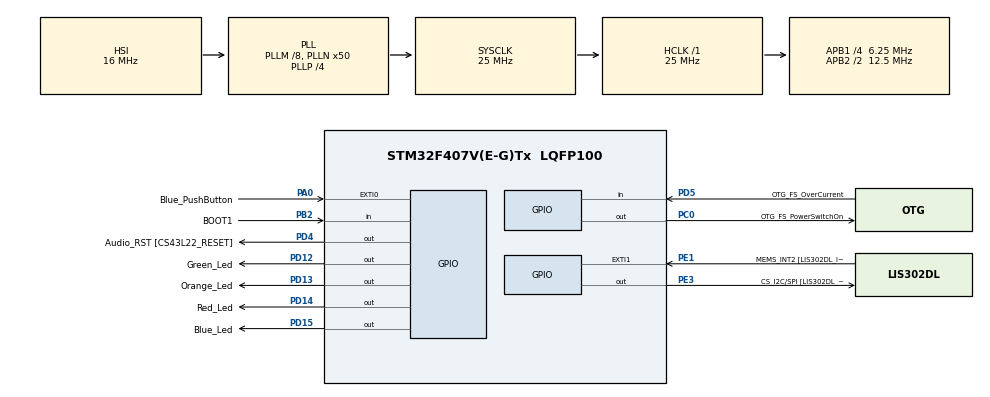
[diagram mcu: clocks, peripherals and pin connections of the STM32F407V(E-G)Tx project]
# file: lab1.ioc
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Mcu.Family=STM32F4
Mcu.Name=STM32F407V(E-G)Tx
Mcu.Package=LQFP100
NVIC.PriorityGroup=NVIC_PRIORITYGROUP_4
NVIC.TIM7_IRQn=true\:0\:0\:false\:false\:true\:false\:true\:true
NVIC.TimeBase=TIM7_IRQn
NVIC.TimeBaseIP=TIM7
PA0-WKUP.GPIO_Label=Blue_PushButton
PA0-WKUP.Signal=GPXTI0
PA10.GPIO_Label=OTG_FS_ID
PA10.GPIO_Mode=GPIO_MODE_AF_PP
PA10.GPIO_PuPd=GPIO_NOPULL
PA10.GPIO_Speed=GPIO_SPEED_FREQ_LOW
PA10.Signal=USB_OTG_FS_ID
PA11.GPIO_Label=OTG_FS_DM
PA11.GPIO_Mode=GPIO_MODE_AF_PP
PA11.GPIO_PuPd=GPIO_NOPULL
PA11.GPIO_Speed=GPIO_SPEED_FREQ_LOW
PA11.Signal=USB_OTG_FS_DM
PA12.GPIO_Label=OTG_FS_DP
PA12.GPIO_Mode=GPIO_MODE_AF_PP
PA12.GPIO_PuPd=GPIO_NOPULL
PA12.GPIO_Speed=GPIO_SPEED_FREQ_LOW
PA12.Signal=USB_OTG_FS_DP
PA13.GPIO_Label=SWDIO
PA13.Mode=Serial_Wire
PA13.Signal=SYS_JTMS-SWDIO
PA14.GPIO_Label=SWCLK
PA14.Mode=Serial_Wire
PA14.Signal=SYS_JTCK-SWCLK
PA4.GPIO_Label=I2S3_WS [CS43L22_LRCK]
PA4.GPIO_Mode=GPIO_MODE_AF_PP
PA4.GPIO_PuPd=GPIO_NOPULL
PA4.GPIO_Speed=GPIO_SPEED_FREQ_LOW
PA4.Signal=I2S3_WS
PA5.GPIO_Label=SPI1_SCK [LIS302DL_SCL/SPC]
PA5.GPIO_Mode=GPIO_MODE_AF_PP
PA5.GPIO_PuPd=GPIO_NOPULL
PA5.GPIO_Speed=GPIO_SPEED_FREQ_LOW
PA5.Signal=SPI1_SCK
PA6.GPIO_Label=SPI1_MISO [LIS302DL_SDO]
PA6.GPIO_Mode=GPIO_MODE_AF_PP
PA6.GPIO_PuPd=GPIO_NOPULL
PA6.GPIO_Speed=GPIO_SPEED_FREQ_LOW
PA6.Signal=SPI1_MISO
PA7.GPIO_Label=SPI1_MOSI [LIS302DL_SDA/SDI/SDO]
PA7.GPIO_Mode=GPIO_MODE_AF_PP
PA7.GPIO_PuPd=GPIO_NOPULL
PA7.GPIO_Speed=GPIO_SPEED_FREQ_LOW
PA7.Signal=SPI1_MOSI
PA9.GPIO_Label=VBUS_FS
PA9.GPIO_Mode=GPIO_MODE_INPUT
PA9.GPIO_PuPd=GPIO_NOPULL
PA9.Signal=USB_OTG_FS_VBUS
PB10.GPIO_Label=CLK_IN [MP45DT02_CLK]
PB10.GPIO_Mode=GPIO_MODE_AF_PP
PB10.GPIO_PuPd=GPIO_NOPULL
PB10.GPIO_Speed=GPIO_SPEED_FREQ_LOW
PB10.Signal=I2S2_CK
PB2.GPIO_Label=BOOT1
PB2.GPIO_Mode=GPIO_MODE_INPUT
PB2.GPIO_PuPd=GPIO_NOPULL
PB2.Signal=GPIO_Input
PB3.GPIO_Label=SWO
PB3.Signal=SYS_JTDO-SWO
PB6.GPIO_Label=Audio_SCL [CS43L22_SCL]
PB6.GPIO_Mode=GPIO_MODE_AF_OD
PB6.GPIO_PuPd=GPIO_NOPULL
PB6.GPIO_Speed=GPIO_SPEED_FREQ_LOW
PB6.Signal=I2C1_SCL
PB9.GPIO_Label=Audio_SDA [CS43L22_SDA]
PB9.GPIO_Mode=GPIO_MODE_AF_OD
PB9.GPIO_PuPd=GPIO_NOPULL
PB9.GPIO_Speed=GPIO_SPEED_FREQ_LOW
PB9.Signal=I2C1_SDA
PC0.GPIO_Label=OTG_FS_PowerSwitchOn
PC0.GPIO_PuPd=GPIO_NOPULL
PC0.GPIO_Speed=GPIO_SPEED_FREQ_LOW
PC0.PinState=GPIO_PIN_SET
PC0.Signal=GPIO_Output
PC10.GPIO_Label=I2S3_SCK [CS43L22_SCLK]
PC10.GPIO_Mode=GPIO_MODE_AF_PP
PC10.GPIO_PuPd=GPIO_NOPULL
PC10.GPIO_Speed=GPIO_SPEED_FREQ_LOW
PC10.Signal=I2S3_CK
PC12.GPIO_Label=I2S3_SD [CS43L22_SDIN]
PC12.GPIO_Mode=GPIO_MODE_AF_PP
PC12.GPIO_PuPd=GPIO_NOPULL
PC12.GPIO_Speed=GPIO_SPEED_FREQ_LOW
PC12.Signal=I2S3_SD
PC14-OSC32_IN.GPIO_Label=PC14-OSC32_IN
PC14-OSC32_IN.Signal=RCC_OSC32_IN
PC15-OSC32_OUT.GPIO_Label=PC15-OSC32_OUT
PC15-OSC32_OUT.Signal=RCC_OSC32_OUT
PC3.GPIO_Label=PDM_OUT [MP45DT02_DOUT]
PC3.GPIO_Mode=GPIO_MODE_AF_PP
PC3.GPIO_PuPd=GPIO_NOPULL
PC3.GPIO_Speed=GPIO_SPEED_FREQ_LOW
PC3.Signal=I2S2_SD
PC7.GPIO_Label=I2S3_MCK [CS43L22_MCLK]
PC7.GPIO_Mode=GPIO_MODE_AF_PP
PC7.GPIO_PuPd=GPIO_NOPULL
PC7.GPIO_Speed=GPIO_SPEED_FREQ_LOW
PC7.Signal=I2S3_MCK
PD12.GPIO_Label=Green_Led
PD12.GPIO_PuPd=GPIO_NOPULL
PD12.GPIO_Speed=GPIO_SPEED_FREQ_LOW
PD12.Signal=GPIO_Output
PD13.GPIO_Label=Orange_Led
PD13.GPIO_PuPd=GPIO_NOPULL
PD13.GPIO_Speed=GPIO_SPEED_FREQ_LOW
PD13.Signal=GPIO_Output
PD14.GPIO_Label=Red_Led
PD14.GPIO_PuPd=GPIO_NOPULL
PD14.GPIO_Speed=GPIO_SPEED_FREQ_LOW
PD14.Signal=GPIO_Output
PD15.GPIO_Label=Blue_Led
PD15.GPIO_PuPd=GPIO_NOPULL
PD15.GPIO_Speed=GPIO_SPEED_FREQ_LOW
PD15.Signal=GPIO_Output
PD4.GPIO_Label=Audio_RST [CS43L22_RESET]
PD4.GPIO_PuPd=GPIO_NOPULL
PD4.GPIO_Speed=GPIO_SPEED_FREQ_LOW
PD4.Signal=GPIO_Output
PD5.GPIO_Label=OTG_FS_OverCurrent
PD5.GPIO_Mode=GPIO_MODE_INPUT
PD5.GPIO_PuPd=GPIO_NOPULL
PD5.Signal=GPIO_Input
PE1.GPIO_Label=MEMS_INT2 [LIS302DL_INT2]
PE1.GPIO_ModeDefaultEXTI=GPIO_MODE_EVT_RISING
PE1.GPIO_PuPd=GPIO_NOPULL
PE1.Signal=GPXTI1
PE3.GPIO_Label=CS_I2C/SPI [LIS302DL_CS_I2C/SPI]
PE3.GPIO_PuPd=GPIO_NOPULL
PE3.GPIO_Speed=GPIO_SPEED_FREQ_LOW
PE3.Signal=GPIO_Output
PH0-OSC_IN.GPIO_Label=PH0-OSC_IN
PH0-OSC_IN.Signal=RCC_OSC_IN
PH1-OSC_OUT.GPIO_Label=PH1-OSC_OUT
PH1-OSC_OUT.Signal=RCC_OSC_OUT
ProjectManager.HeapSize=0x200
ProjectManager.StackSize=0x400
ProjectManager.TargetToolchain=STM32CubeIDE
RCC.48MHZClocksFreq_Value=14285714.285714285
RCC.AHBFreq_Value=25000000
RCC.APB1CLKDivider=RCC_HCLK_DIV4
RCC.APB1Freq_Value=6250000
RCC.APB1TimFreq_Value=12500000
RCC.APB2CLKDivider=RCC_HCLK_DIV2
RCC.APB2Freq_Value=12500000
RCC.APB2TimFreq_Value=25000000
RCC.CortexFreq_Value=25000000
RCC.HCLKFreq_Value=25000000
RCC.HSE_VALUE=8000000
RCC.HSI_VALUE=16000000
RCC.LSE_VALUE=32768
RCC.PLLM=8
RCC.PLLN=50
RCC.PLLP=RCC_PLLP_DIV4
RCC.PLLQ=7
RCC.SYSCLKFreq_VALUE=25000000
RCC.SYSCLKSource=RCC_SYSCLKSOURCE_PLLCLK
RCC.VCOOutputFreq_Value=100000000
VP_SYS_VS_tim7.Mode=TIM7
board=STM32F407G-DISC1

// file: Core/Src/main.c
/* USER CODE BEGIN Header */
/**
  ******************************************************************************
  * @file           : main.c
  * @brief          : Main program body
  ******************************************************************************
  * @attention
  *
  * Copyright (c) 2025 STMicroelectronics.
  * All rights reserved.
  *
  * This software is licensed under terms that can be found in the LICENSE file
  * in the root directory of this software component.
  * If no LICENSE file comes with this software, it is provided AS-IS.
  *
  ******************************************************************************
  */
/* USER CODE END Header */
#include "main.h"

/* USER CODE BEGIN Includes */
#include "FreeRTOS.h"
#include "task.h"
#include "queue.h"
/* USER CODE END Includes */

void SystemClock_Config(void);
static void MX_GPIO_Init(void);
/* USER CODE BEGIN PFP */
void vButtonHandler(void *pvParameters);
void vLEDHandler(void *pvParameters);
/* USER CODE END PFP */

/* USER CODE BEGIN 0 */
QueueHandle_t xQueue;
/* USER CODE END 0 */

int main(void)
{

  /* MCU Configuration--------------------------------------------------------*/

  /* Reset of all peripherals, Initializes the Flash interface and the Systick. */
  HAL_Init();

  /* Configure the system clock */
  SystemClock_Config();

  /* Initialize all configured peripherals */
  MX_GPIO_Init();
  /* USER CODE BEGIN 2 */
  xQueue = xQueueCreate(1, sizeof(int));

  xTaskCreate(vLEDHandler, "LED", 128, NULL, 1, NULL);
  xTaskCreate(vButtonHandler, "BUTTON", 128, NULL, 1, NULL);
  vTaskStartScheduler();
  /* USER CODE END 2 */

  /* Infinite loop */
  while (1)
  {

  }
}

void SystemClock_Config(void)
{
  RCC_OscInitTypeDef RCC_OscInitStruct = {0};
  RCC_ClkInitTypeDef RCC_ClkInitStruct = {0};

  /** Configure the main internal regulator output voltage
  */
  __HAL_RCC_PWR_CLK_ENABLE();
  __HAL_PWR_VOLTAGESCALING_CONFIG(PWR_REGULATOR_VOLTAGE_SCALE1);

  /** Initializes the RCC Oscillators according to the specified parameters
  * in the RCC_OscInitTypeDef structure.
  */
  RCC_OscInitStruct.OscillatorType = RCC_OSCILLATORTYPE_HSI;
  RCC_OscInitStruct.HSIState = RCC_HSI_ON;
  RCC_OscInitStruct.HSICalibrationValue = RCC_HSICALIBRATION_DEFAULT;
  RCC_OscInitStruct.PLL.PLLState = RCC_PLL_ON;
  RCC_OscInitStruct.PLL.PLLSource = RCC_PLLSOURCE_HSI;
  RCC_OscInitStruct.PLL.PLLM = 8;
  RCC_OscInitStruct.PLL.PLLN = 50;
  RCC_OscInitStruct.PLL.PLLP = RCC_PLLP_DIV4;
  RCC_OscInitStruct.PLL.PLLQ = 7;
  if (HAL_RCC_OscConfig(&RCC_OscInitStruct) != HAL_OK)
  {
    Error_Handler();
  }

  /** Initializes the CPU, AHB and APB buses clocks
  */
  RCC_ClkInitStruct.ClockType = RCC_CLOCKTYPE_HCLK|RCC_CLOCKTYPE_SYSCLK
                              |RCC_CLOCKTYPE_PCLK1|RCC_CLOCKTYPE_PCLK2;
  RCC_ClkInitStruct.SYSCLKSource = RCC_SYSCLKSOURCE_PLLCLK;
  RCC_ClkInitStruct.AHBCLKDivider = RCC_SYSCLK_DIV1;
  RCC_ClkInitStruct.APB1CLKDivider = RCC_HCLK_DIV4;
  RCC_ClkInitStruct.APB2CLKDivider = RCC_HCLK_DIV2;

  if (HAL_RCC_ClockConfig(&RCC_ClkInitStruct, FLASH_LATENCY_0) != HAL_OK)
  {
    Error_Handler();
  }
}

static void MX_GPIO_Init(void)
{
  GPIO_InitTypeDef GPIO_InitStruct = {0};

  /* GPIO Ports Clock Enable */
  __HAL_RCC_GPIOE_CLK_ENABLE();
  __HAL_RCC_GPIOC_CLK_ENABLE();
  __HAL_RCC_GPIOH_CLK_ENABLE();
  __HAL_RCC_GPIOA_CLK_ENABLE();
  __HAL_RCC_GPIOB_CLK_ENABLE();
  __HAL_RCC_GPIOD_CLK_ENABLE();

  /*Configure GPIO pin Output Level */
  HAL_GPIO_WritePin(CS_I2C_SPI_GPIO_Port, CS_I2C_SPI_Pin, GPIO_PIN_RESET);

  /*Configure GPIO pin Output Level */
  HAL_GPIO_WritePin(OTG_FS_PowerSwitchOn_GPIO_Port, OTG_FS_PowerSwitchOn_Pin, GPIO_PIN_SET);

  /*Configure GPIO pin Output Level */
  HAL_GPIO_WritePin(GPIOD, Green_Led_Pin|Orange_Led_Pin|Red_Led_Pin|Blue_Led_Pin
                          |Audio_RST_Pin, GPIO_PIN_RESET);

  /*Configure GPIO pin : CS_I2C_SPI_Pin */
  GPIO_InitStruct.Pin = CS_I2C_SPI_Pin;
  GPIO_InitStruct.Mode = GPIO_MODE_OUTPUT_PP;
  GPIO_InitStruct.Pull = GPIO_NOPULL;
  GPIO_InitStruct.Speed = GPIO_SPEED_FREQ_LOW;
  HAL_GPIO_Init(CS_I2C_SPI_GPIO_Port, &GPIO_InitStruct);

  /*Configure GPIO pin : OTG_FS_PowerSwitchOn_Pin */
  GPIO_InitStruct.Pin = OTG_FS_PowerSwitchOn_Pin;
  GPIO_InitStruct.Mode = GPIO_MODE_OUTPUT_PP;
  GPIO_InitStruct.Pull = GPIO_NOPULL;
  GPIO_InitStruct.Speed = GPIO_SPEED_FREQ_LOW;
  HAL_GPIO_Init(OTG_FS_PowerSwitchOn_GPIO_Port, &GPIO_InitStruct);

  /*Configure GPIO pin : PDM_OUT_Pin */
  GPIO_InitStruct.Pin = PDM_OUT_Pin;
  GPIO_InitStruct.Mode = GPIO_MODE_AF_PP;
  GPIO_InitStruct.Pull = GPIO_NOPULL;
  GPIO_InitStruct.Speed = GPIO_SPEED_FREQ_LOW;
  GPIO_InitStruct.Alternate = GPIO_AF5_SPI2;
  HAL_GPIO_Init(PDM_OUT_GPIO_Port, &GPIO_InitStruct);

  /*Configure GPIO pin : Blue_PushButton_Pin */
  GPIO_InitStruct.Pin = Blue_PushButton_Pin;
  GPIO_InitStruct.Mode = GPIO_MODE_IT_RISING;
  GPIO_InitStruct.Pull = GPIO_NOPULL;
  HAL_GPIO_Init(Blue_PushButton_GPIO_Port, &GPIO_InitStruct);

  /*Configure GPIO pin : I2S3_WS_Pin */
  GPIO_InitStruct.Pin = I2S3_WS_Pin;
  GPIO_InitStruct.Mode = GPIO_MODE_AF_PP;
  GPIO_InitStruct.Pull = GPIO_NOPULL;
  GPIO_InitStruct.Speed = GPIO_SPEED_FREQ_LOW;
  GPIO_InitStruct.Alternate = GPIO_AF6_SPI3;
  HAL_GPIO_Init(I2S3_WS_GPIO_Port, &GPIO_InitStruct);

  /*Configure GPIO pins : SPI1_SCK_Pin SPI1_MISO_Pin SPI1_MOSI_Pin */
  GPIO_InitStruct.Pin = SPI1_SCK_Pin|SPI1_MISO_Pin|SPI1_MOSI_Pin;
  GPIO_InitStruct.Mode = GPIO_MODE_AF_PP;
  GPIO_InitStruct.Pull = GPIO_NOPULL;
  GPIO_InitStruct.Speed = GPIO_SPEED_FREQ_LOW;
  GPIO_InitStruct.Alternate = GPIO_AF5_SPI1;
  HAL_GPIO_Init(GPIOA, &GPIO_InitStruct);

  /*Configure GPIO pin : BOOT1_Pin */
  GPIO_InitStruct.Pin = BOOT1_Pin;
  GPIO_InitStruct.Mode = GPIO_MODE_INPUT;
  GPIO_InitStruct.Pull = GPIO_NOPULL;
  HAL_GPIO_Init(BOOT1_GPIO_Port, &GPIO_InitStruct);

  /*Configure GPIO pin : CLK_IN_Pin */
  GPIO_InitStruct.Pin = CLK_IN_Pin;
  GPIO_InitStruct.Mode = GPIO_MODE_AF_PP;
  GPIO_InitStruct.Pull = GPIO_NOPULL;
  GPIO_InitStruct.Speed = GPIO_SPEED_FREQ_LOW;
  GPIO_InitStruct.Alternate = GPIO_AF5_SPI2;
  HAL_GPIO_Init(CLK_IN_GPIO_Port, &GPIO_InitStruct);

  /*Configure GPIO pins : Green_Led_Pin Orange_Led_Pin Red_Led_Pin Blue_Led_Pin
                           Audio_RST_Pin */
  GPIO_InitStruct.Pin = Green_Led_Pin|Orange_Led_Pin|Red_Led_Pin|Blue_Led_Pin
                          |Audio_RST_Pin;
  GPIO_InitStruct.Mode = GPIO_MODE_OUTPUT_PP;
  GPIO_InitStruct.Pull = GPIO_NOPULL;
  GPIO_InitStruct.Speed = GPIO_SPEED_FREQ_LOW;
  HAL_GPIO_Init(GPIOD, &GPIO_InitStruct);

  /*Configure GPIO pins : I2S3_MCK_Pin I2S3_SCK_Pin I2S3_SD_Pin */
  GPIO_InitStruct.Pin = I2S3_MCK_Pin|I2S3_SCK_Pin|I2S3_SD_Pin;
  GPIO_InitStruct.Mode = GPIO_MODE_AF_PP;
  GPIO_InitStruct.Pull = GPIO_NOPULL;
  GPIO_InitStruct.Speed = GPIO_SPEED_FREQ_LOW;
  GPIO_InitStruct.Alternate = GPIO_AF6_SPI3;
  HAL_GPIO_Init(GPIOC, &GPIO_InitStruct);

  /*Configure GPIO pin : VBUS_FS_Pin */
  GPIO_InitStruct.Pin = VBUS_FS_Pin;
  GPIO_InitStruct.Mode = GPIO_MODE_INPUT;
  GPIO_InitStruct.Pull = GPIO_NOPULL;
  HAL_GPIO_Init(VBUS_FS_GPIO_Port, &GPIO_InitStruct);

  /*Configure GPIO pins : OTG_FS_ID_Pin OTG_FS_DM_Pin OTG_FS_DP_Pin */
  GPIO_InitStruct.Pin = OTG_FS_ID_Pin|OTG_FS_DM_Pin|OTG_FS_DP_Pin;
  GPIO_InitStruct.Mode = GPIO_MODE_AF_PP;
  GPIO_InitStruct.Pull = GPIO_NOPULL;
  GPIO_InitStruct.Speed = GPIO_SPEED_FREQ_LOW;
  GPIO_InitStruct.Alternate = GPIO_AF10_OTG_FS;
  HAL_GPIO_Init(GPIOA, &GPIO_InitStruct);

  /*Configure GPIO pin : OTG_FS_OverCurrent_Pin */
  GPIO_InitStruct.Pin = OTG_FS_OverCurrent_Pin;
  GPIO_InitStruct.Mode = GPIO_MODE_INPUT;
  GPIO_InitStruct.Pull = GPIO_NOPULL;
  HAL_GPIO_Init(OTG_FS_OverCurrent_GPIO_Port, &GPIO_InitStruct);

  /*Configure GPIO pins : Audio_SCL_Pin Audio_SDA_Pin */
  GPIO_InitStruct.Pin = Audio_SCL_Pin|Audio_SDA_Pin;
  GPIO_InitStruct.Mode = GPIO_MODE_AF_OD;
  GPIO_InitStruct.Pull = GPIO_NOPULL;
  GPIO_InitStruct.Speed = GPIO_SPEED_FREQ_LOW;
  GPIO_InitStruct.Alternate = GPIO_AF4_I2C1;
  HAL_GPIO_Init(GPIOB, &GPIO_InitStruct);

  /*Configure GPIO pin : MEMS_INT2_Pin */
  GPIO_InitStruct.Pin = MEMS_INT2_Pin;
  GPIO_InitStruct.Mode = GPIO_MODE_EVT_RISING;
  GPIO_InitStruct.Pull = GPIO_NOPULL;
  HAL_GPIO_Init(MEMS_INT2_GPIO_Port, &GPIO_InitStruct);

}

/* USER CODE BEGIN 4 */
void vButtonHandler(void *pvParameters) {
    static uint16_t buttonState = 0;
    // 用16個bit來記錄按鈕的歷史狀態

    static unsigned int LEDstate = 0;

    while (1) {
        buttonState = (buttonState << 1) | HAL_GPIO_ReadPin(Blue_PushButton_GPIO_Port, Blue_PushButton_Pin) | 0xFE00;

        if (buttonState == 0xFF00) {
            // 按鈕穩定了，可以更新LED燈的state了
            LEDstate ^= 1;
            xQueueSend(xQueue, (int *) &LEDstate, 1);
        }

        vTaskDelay(10);
    }
}

void vLEDHandler(void *pvParameters){
    static uint8_t receivedMsg = 0;
    // receivedMsg就是LED燈的狀態

    while (1) {
        xQueueReceive(xQueue, &receivedMsg, 1);
        if (receivedMsg == 0) {
            STATE0:
                HAL_GPIO_TogglePin(Green_Led_GPIO_Port, Green_Led_Pin);
                xQueueReceive(xQueue, &receivedMsg, 1000);
                HAL_GPIO_TogglePin(Green_Led_GPIO_Port, Green_Led_Pin);

                if (receivedMsg == 1) {
                    goto STATE1;
                }

                HAL_GPIO_TogglePin(Red_Led_GPIO_Port, Red_Led_Pin);
                xQueueReceive(xQueue, &receivedMsg, 1000);
                HAL_GPIO_TogglePin(Red_Led_GPIO_Port, Red_Led_Pin);

                if (receivedMsg == 1) {
                    goto STATE1;
                }

                HAL_GPIO_TogglePin(Orange_Led_GPIO_Port, Orange_Led_Pin);
                xQueueReceive(xQueue, &receivedMsg, 1000);
                HAL_GPIO_TogglePin(Orange_Led_GPIO_Port, Orange_Led_Pin);

                if (receivedMsg == 1) {
                    goto STATE1;
                }
        }
        if (receivedMsg == 1) {
            STATE1:
                HAL_GPIO_TogglePin(Orange_Led_GPIO_Port, Orange_Led_Pin);
                xQueueReceive(xQueue, &receivedMsg, 2000);
                HAL_GPIO_TogglePin(Orange_Led_GPIO_Port, Orange_Led_Pin);
                xQueueReceive(xQueue, &receivedMsg, 2000);

                if (receivedMsg == 0) {
                    goto STATE0;
                }
        }
    }
}

/* USER CODE END 4 */

void HAL_TIM_PeriodElapsedCallback(TIM_HandleTypeDef *htim)
{
  if (htim->Instance == TIM7)
  {
    HAL_IncTick();
  }
}

void Error_Handler(void)
{
  __disable_irq();
  while (1)
  {
  }
}
